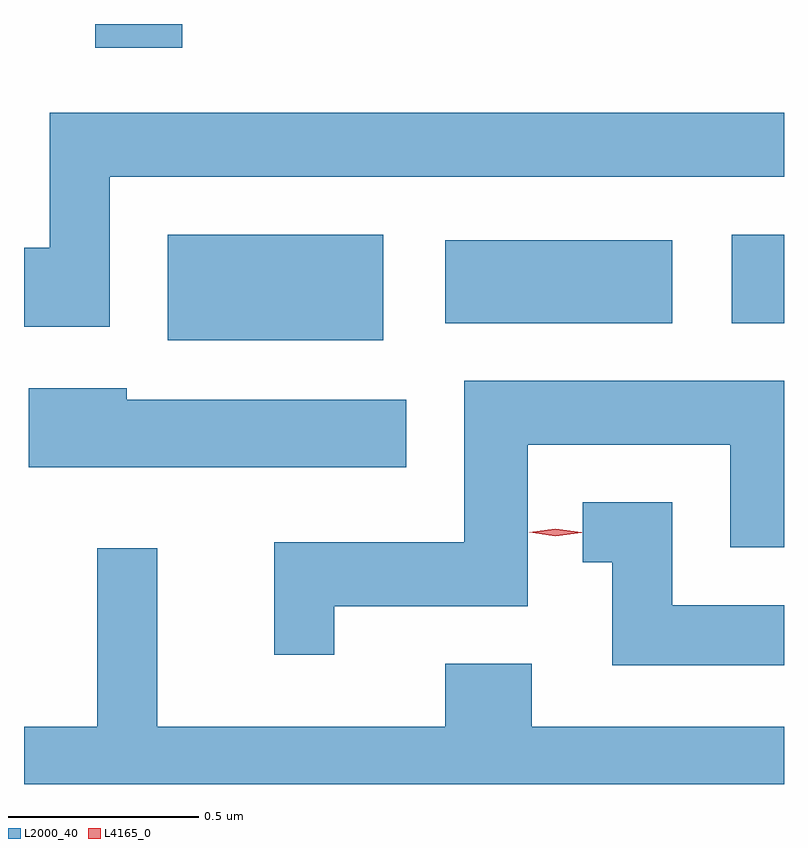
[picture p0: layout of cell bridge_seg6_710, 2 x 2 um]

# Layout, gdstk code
import gdstk
lib = gdstk.Library(unit=1e-6, precision=1e-09)
def R(c, l, rs):  # rectangles x0, y0, x1, y1
    for r in rs: c.add(gdstk.rectangle(r[:2], r[2:], *l))
def P(c, l, *ps):  # polygons
    for p in ps: c.add(gdstk.Polygon(p, *l))
L2000_40 = (2000, 40)
L4165_0 = (4165, 0)

bridge_seg6_710 = lib.new_cell('bridge_seg6_710')
R(bridge_seg6_710, L2000_40, [(306.651,1551.321,307.219,1551.599), (307.381,1551.366,307.979,1551.584), (308.136,1551.366,308.273,1551.599), (306.461,1552.091,306.689,1552.153)])
P(bridge_seg6_710, L2000_40, [(306.499,1551.751),(308.273,1551.751),(308.273,1551.919),(306.341,1551.919),(306.341,1551.564),(306.273,1551.564),(306.273,1551.356),(306.499,1551.356)],
  [(307.089,1550.621),(307.599,1550.621),(307.599,1551.046),(308.131,1551.046),(308.131,1550.776),(308.273,1550.776),(308.273,1551.214),(307.431,1551.214),(307.431,1550.789),(306.931,1550.789),(306.931,1550.493),(307.089,1550.493)],
  [(307.279,1551.164),(306.544,1551.164),(306.544,1551.194),(306.286,1551.194),(306.286,1550.986),(307.279,1550.986)],
  [(308.273,1550.624),(307.979,1550.624),(307.979,1550.894),(307.743,1550.894),(307.743,1550.736),(307.821,1550.736),(307.821,1550.466),(308.273,1550.466)],
  [(308.273,1550.304),(307.609,1550.304),(307.609,1550.469),(307.381,1550.469),(307.381,1550.304),(306.624,1550.304),(306.624,1550.773),(306.466,1550.773),(306.466,1550.304),(306.273,1550.304),(306.273,1550.153),(308.273,1550.153)])
P(bridge_seg6_710, L4165_0, [(307.671,1550.805),(307.602,1550.815),(307.602,1550.816),(307.602,1550.816),(307.671,1550.825),(307.741,1550.815),(307.741,1550.815),(307.741,1550.814)])

lib.write_gds('bridge_seg6_710.gds')
